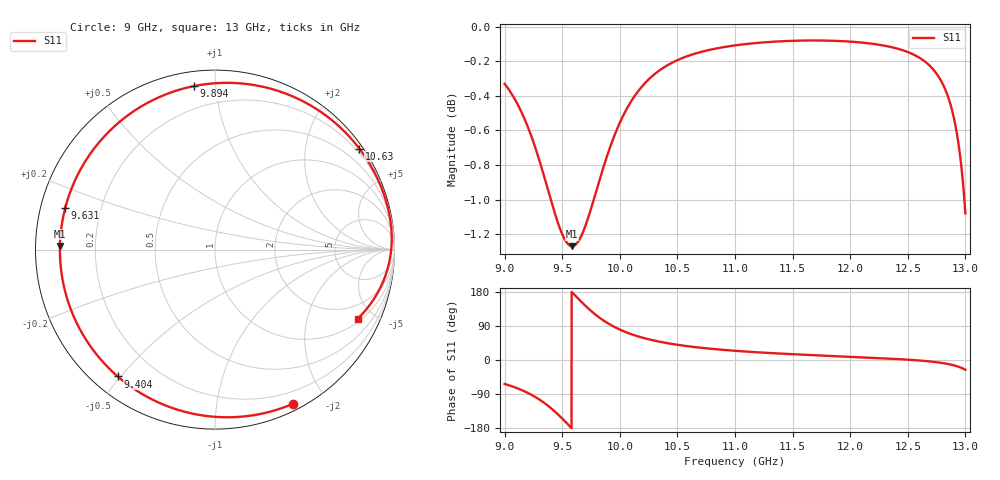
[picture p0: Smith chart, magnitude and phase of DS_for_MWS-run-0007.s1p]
! TOUCHSTONE file generated by CST DESIGN STUDIO
! Date and time: Tue Feb  4 17:52:53 2025
! Project name: C:\Work\MatlabApps\UnitCellOptimizationMatlab\CST\unitcell.cst
! Tree item: Tasks\Sweep1\SPara1\S-Parameters
! Header version: 2024
! Port assignment regex: !\s*Touchstone port\s*([0-9]+)\s*=\s*(CST MWS port|CST DES external port|CST DES block port)\s*(.+)\s* \(\"(.*)\"\)(\s*mode\s*([0-9]+))?.*
! Touchstone port assignment:
! Touchstone port 1 = CST DES external port 1 ("")
# GHz S MA R 50
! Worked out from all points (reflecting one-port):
!   4001 points, 9 GHz to 13 GHz, reference 50 ohm
!   lowest |S11| = -1.3 dB at 9.586 GHz (marker M1), VSWR 13.73, Z = 3.64 + j0.596 ohm
!   phase of S11 starts at -63 deg and turns -323 deg over the sweep
!   S11 on the Smith chart (normalised r, x): 9 GHz: 0.07, -1.63; 9.404 GHz: 0.07, -0.49; 9.631 GHz: 0.07, +0.14; 9.894 GHz: 0.08, +0.88; 10.63 GHz: 0.10, +3.17; 13 GHz: 1.16, -4.05
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9  0.9627 -63.1
9.121  0.9485 -75.9
9.244  0.9273 -93.7
9.329  0.9086 -109.9
9.404  0.8906 -127.5
9.451  0.8801 -140.1
9.5  0.8711 -154.4
9.544  0.8659 -168.0
9.586  0.8642 178.6
9.631  0.8661 164.3
9.699  0.8755 143.7
9.761  0.8884 126.7
9.825  0.9032 111.3
9.894  0.9185 97.3
10  0.938 80.3
10.103  0.952 67.8
10.217  0.963 57.3
10.347  0.9714 48.2
10.5  0.9779 40.1
10.627  0.9816 35.0
11  0.9876 24.3
11.5  0.9906 15.3
12  0.9901 8.5
12.5  0.9832 0.9
12.674  0.9755 -3.3
12.805  0.9623 -8.2
12.916  0.9355 -15.4
13  0.8832 -25.8
